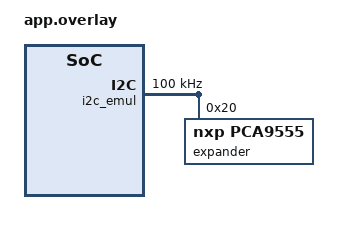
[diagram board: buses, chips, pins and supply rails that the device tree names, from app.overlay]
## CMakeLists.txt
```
# SPDX-FileCopyrightText: Copyright The Zephyr Project Contributors
# SPDX-License-Identifier: Apache-2.0

cmake_minimum_required(VERSION 3.20.0)
find_package(Zephyr REQUIRED HINTS $ENV{ZEPHYR_BASE})
project(gpio_pca_series)

target_sources(app PRIVATE src/main.c)
```

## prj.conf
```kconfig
# SPDX-FileCopyrightText: Copyright The Zephyr Project Contributors
# SPDX-License-Identifier: Apache-2.0

CONFIG_ZTEST=y
CONFIG_GPIO=y
CONFIG_I2C=y
CONFIG_EMUL=y
CONFIG_IRQ_OFFLOAD=y
CONFIG_GPIO_PCA_SERIES_INTERRUPT=n
CONFIG_GPIO_PCA_SERIES_INIT_PRIORITY=60
```

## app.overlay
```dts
/*
 * SPDX-FileCopyrightText: Copyright The Zephyr Project Contributors
 * SPDX-License-Identifier: Apache-2.0
 */

/ {
	i2c_emul: i2c@12340000 {
		compatible = "zephyr,i2c-emul-controller";
		reg = <0x12340000 0x1000>;
		#address-cells = <1>;
		#size-cells = <0>;
		clock-frequency = <100000>;
		status = "okay";

		expander: gpio@20 {
			compatible = "nxp,pca9555";
			reg = <0x20>;
			gpio-controller;
			#gpio-cells = <2>;
			ngpios = <16>;
		};
	};
};
```

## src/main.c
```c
/*
 * SPDX-FileCopyrightText: Copyright The Zephyr Project Contributors
 * SPDX-License-Identifier: Apache-2.0
 */

#include <errno.h>
#include <string.h>
#include <zephyr/device.h>
#include <zephyr/drivers/emul.h>
#include <zephyr/drivers/gpio.h>
#include <zephyr/drivers/i2c.h>
#include <zephyr/drivers/i2c_emul.h>
#include <zephyr/irq_offload.h>
#include <zephyr/ztest.h>

#define EXPANDER_NODE DT_NODELABEL(expander)
#define INPUT_LOW      0U
#define INPUT_HIGH     1U
#define OUTPUT_LOW     2U
#define OUTPUT_HIGH    3U
#define DIRECTION_LOW  6U
#define DIRECTION_HIGH 7U

struct pca_series_fixture {
	uint8_t registers[8];
	uint8_t cursor;
	int error;
	uint32_t transfers;
};

static int pca9555_emul_transfer(const struct emul *target, struct i2c_msg *msgs, int num_msgs,
				 int addr)
{
	struct pca_series_fixture *data = target->data;

	ARG_UNUSED(addr);
	data->transfers++;
	if (data->error != 0) {
		int error = data->error;

		data->error = 0;
		return error;
	}

	for (int32_t i = 0; i < num_msgs; i++) {
		struct i2c_msg *msg = &msgs[i];
		uint32_t offset = 0U;

		if ((msg->flags & I2C_MSG_READ) == 0U &&
		    (i == 0 || (msg->flags & I2C_MSG_RESTART) != 0U ||
		     (msgs[i - 1].flags & I2C_MSG_STOP) != 0U)) {
			if (msg->len == 0U) {
				return -EINVAL;
			}
			data->cursor = msg->buf[0];
			offset = 1U;
		}
		if (data->cursor + msg->len - offset > sizeof(data->registers)) {
			return -EINVAL;
		}
		for (; offset < msg->len; offset++) {
			if ((msg->flags & I2C_MSG_READ) != 0U) {
				msg->buf[offset] = data->registers[data->cursor++];
			} else {
				data->registers[data->cursor++] = msg->buf[offset];
			}
		}
	}

	return 0;
}

static int pca9555_emul_init(const struct emul *target, const struct device *parent)
{
	struct pca_series_fixture *data = target->data;

	ARG_UNUSED(parent);
	memset(data->registers, 0, sizeof(data->registers));
	data->registers[OUTPUT_LOW] = UINT8_MAX;
	data->registers[OUTPUT_HIGH] = UINT8_MAX;
	data->registers[DIRECTION_LOW] = UINT8_MAX;
	data->registers[DIRECTION_HIGH] = UINT8_MAX;
	return 0;
}

static const struct i2c_emul_api pca9555_emul_api = {
	.transfer = pca9555_emul_transfer,
};

static struct pca_series_fixture emul_data;

EMUL_DT_DEFINE(EXPANDER_NODE, pca9555_emul_init, &emul_data, NULL, &pca9555_emul_api, NULL);

static void *pca_series_setup(void)
{
	return &emul_data;
}

static void pca_series_before(void *fixture)
{
	struct pca_series_fixture *data = fixture;
	const struct device *dev = DEVICE_DT_GET(EXPANDER_NODE);

	zassert_true(device_is_ready(dev));
	data->error = 0;
	data->registers[INPUT_LOW] = 0U;
	data->registers[INPUT_HIGH] = 0U;
	zassert_ok(gpio_port_set_masked_raw(dev, UINT16_MAX, 0U));
	for (gpio_pin_t pin = 0U; pin < 16U; pin++) {
		zassert_ok(gpio_pin_configure(dev, pin, GPIO_INPUT));
	}
}

ZTEST_F(pca_series, test_outputs)
{
	struct pca_series_fixture *data = fixture;
	const struct device *dev = DEVICE_DT_GET(EXPANDER_NODE);

	zassert_ok(gpio_pin_configure(dev, 1U, GPIO_OUTPUT_INACTIVE));
	zassert_ok(gpio_pin_configure(dev, 10U, GPIO_OUTPUT_ACTIVE));
	zassert_equal(data->registers[DIRECTION_LOW], UINT8_MAX & ~BIT(1));
	zassert_equal(data->registers[DIRECTION_HIGH], UINT8_MAX & ~BIT(2));
	zassert_equal(data->registers[OUTPUT_LOW], 0U);
	zassert_equal(data->registers[OUTPUT_HIGH], BIT(2));
	zassert_ok(gpio_port_set_bits_raw(dev, BIT(1)));
	zassert_equal(data->registers[OUTPUT_LOW], BIT(1));
	zassert_ok(gpio_port_clear_bits_raw(dev, BIT(10)));
	zassert_equal(data->registers[OUTPUT_HIGH], 0U);
	zassert_ok(gpio_port_toggle_bits(dev, BIT(1) | BIT(10)));
	zassert_equal(data->registers[OUTPUT_LOW], 0U);
	zassert_equal(data->registers[OUTPUT_HIGH], BIT(2));
}

ZTEST_F(pca_series, test_inputs)
{
	struct pca_series_fixture *data = fixture;
	const struct device *dev = DEVICE_DT_GET(EXPANDER_NODE);
	gpio_port_value_t value;

	data->registers[INPUT_LOW] = 0xa5U;
	data->registers[INPUT_HIGH] = 0x5aU;
	zassert_ok(gpio_port_get_raw(dev, &value));
	zassert_equal(value & UINT16_MAX, 0x5aa5U);
}

ZTEST_F(pca_series, test_i2c_error_recovery)
{
	struct pca_series_fixture *data = fixture;
	const struct device *dev = DEVICE_DT_GET(EXPANDER_NODE);
	gpio_port_value_t value;

	data->error = -EIO;
	zassert_equal(gpio_port_get_raw(dev, &value), -EIO);
	zassert_ok(gpio_port_get_raw(dev, &value));
	data->error = -EIO;
	zassert_equal(gpio_port_set_bits_raw(dev, BIT(1)), -EIO);
	zassert_ok(gpio_port_clear_bits_raw(dev, BIT(1)));
}

struct isr_result {
	int read;
	int write;
	int configure;
};

static void pca_series_from_isr(const void *arg)
{
	struct isr_result *result = (struct isr_result *)arg;
	const struct device *dev = DEVICE_DT_GET(EXPANDER_NODE);
	gpio_port_value_t value;

	result->read = gpio_port_get_raw(dev, &value);
	result->write = gpio_port_set_bits_raw(dev, BIT(1));
	result->configure = gpio_pin_configure(dev, 1U, GPIO_OUTPUT);
}

ZTEST_F(pca_series, test_reject_isr_access)
{
	struct pca_series_fixture *data = fixture;
	struct isr_result result = {0};
	uint32_t transfers = data->transfers;

	irq_offload(pca_series_from_isr, &result);
	zassert_equal(result.read, -EWOULDBLOCK);
	zassert_equal(result.write, -EWOULDBLOCK);
	zassert_equal(result.configure, -EWOULDBLOCK);
	zassert_equal(data->transfers, transfers);
}

ZTEST_SUITE(pca_series, NULL, pca_series_setup, pca_series_before, NULL, NULL);
```
